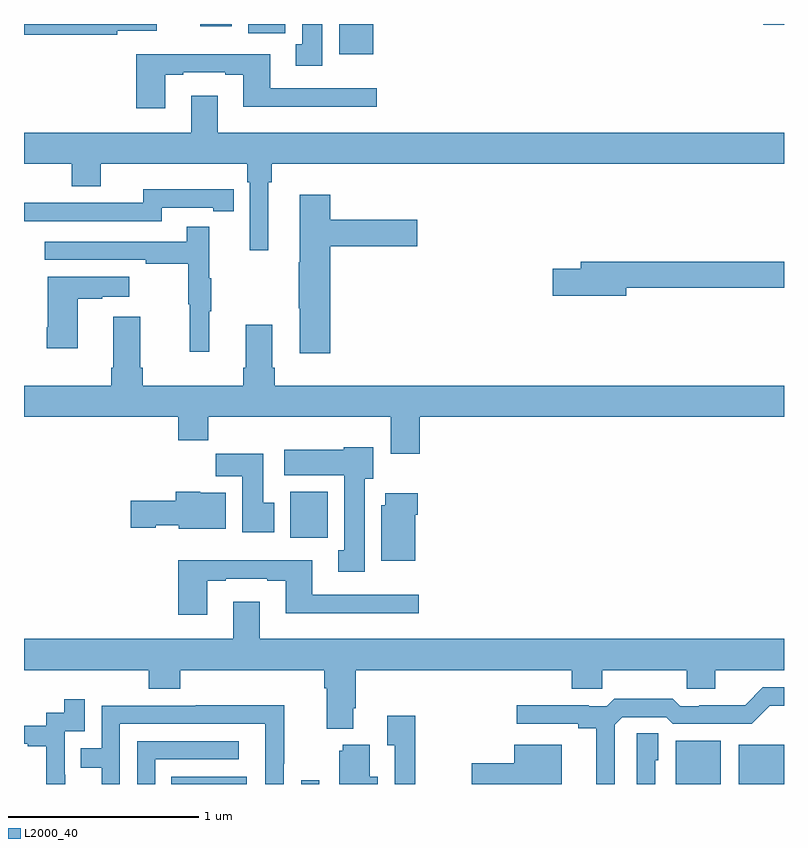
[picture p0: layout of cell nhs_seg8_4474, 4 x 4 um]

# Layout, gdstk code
import gdstk
lib = gdstk.Library(unit=1e-6, precision=1e-09)
def R(c, l, rs):  # rectangles x0, y0, x1, y1
    for r in rs: c.add(gdstk.rectangle(r[:2], r[2:], *l))
def P(c, l, *ps):  # polygons
    for p in ps: c.add(gdstk.Polygon(p, *l))
L2000_40 = (2000, 40)

nhs_seg8_4474 = lib.new_cell('nhs_seg8_4474')
R(nhs_seg8_4474, L2000_40, [(383.776,1115.9,384.172,1115.938), (384.459,1115.9,384.555,1115.92), (386.429,1115.9,386.668,1116.127), (386.762,1115.9,387,1116.106), (384.401,1117.196,384.598,1117.438), (384.659,1119.74,384.838,1119.9), (384.179,1119.852,384.375,1119.9), (383.927,1119.888,384.094,1119.9), (386.892,1119.896,387,1119.9)])
P(nhs_seg8_4474, L2000_40, [(383.492,1119.864),(383.698,1119.864),(383.698,1119.9),(383,1119.9),(383,1119.844),(383.492,1119.844)],
  [(384.571,1119.9),(384.464,1119.9),(384.464,1119.793),(384.431,1119.793),(384.431,1119.681),(384.571,1119.681)],
  [(383.743,1119.633),(383.839,1119.633),(383.839,1119.645),(384.059,1119.645),(384.059,1119.633),(384.155,1119.633),(384.155,1119.464),(384.856,1119.464),(384.856,1119.561),(384.295,1119.561),(384.295,1119.742),(383.591,1119.742),(383.591,1119.456),(383.743,1119.456)],
  [(384.286,1119.068),(384.305,1119.068),(384.305,1119.164),(387,1119.164),(387,1119.328),(384.019,1119.328),(384.019,1119.523),(383.879,1119.523),(383.879,1119.328),(383,1119.328),(383,1119.164),(383.252,1119.164),(383.252,1119.047),(383.404,1119.047),(383.404,1119.164),(384.176,1119.164),(384.176,1119.068),(384.189,1119.068),(384.189,1118.709),(384.286,1118.709)],
  [(383.724,1118.934),(383.996,1118.934),(383.996,1118.914),(384.104,1118.914),(384.104,1119.03),(383.996,1119.03),(383.996,1119.031),(383.628,1119.031),(383.628,1118.958),(383.168,1118.958),(383.168,1118.96),(383,1118.96),(383,1118.862),(383.724,1118.862)],
  [(384.611,1118.729),(385.069,1118.729),(385.069,1118.871),(384.611,1118.871),(384.611,1119.001),(384.452,1119.001),(384.452,1118.645),(384.445,1118.645),(384.445,1118.404),(384.452,1118.404),(384.452,1118.166),(384.611,1118.166)],
  [(383.975,1118.387),(383.986,1118.387),(383.986,1118.561),(383.975,1118.561),(383.975,1118.833),(383.857,1118.833),(383.857,1118.754),(383.109,1118.754),(383.109,1118.658),(383.641,1118.658),(383.641,1118.638),(383.865,1118.638),(383.865,1118.424),(383.872,1118.424),(383.872,1118.175),(383.975,1118.175)],
  [(386.17,1118.512),(387,1118.512),(387,1118.648),(385.931,1118.648),(385.931,1118.612),(385.782,1118.612),(385.782,1118.47),(386.17,1118.47)],
  [(383.284,1118.455),(383.411,1118.455),(383.411,1118.465),(383.554,1118.465),(383.554,1118.569),(383.126,1118.569),(383.126,1118.305),(383.119,1118.305),(383.119,1118.193),(383.284,1118.193)],
  [(385.082,1117.832),(387,1117.832),(387,1117.996),(384.32,1117.996),(384.32,1118.092),(384.307,1118.092),(384.307,1118.317),(384.167,1118.317),(384.167,1118.092),(384.155,1118.092),(384.155,1117.996),(383.624,1117.996),(383.624,1118.092),(383.611,1118.092),(383.611,1118.359),(383.471,1118.359),(383.471,1118.092),(383.459,1118.092),(383.459,1117.996),(383,1117.996),(383,1117.832),(383.813,1117.832),(383.813,1117.708),(383.969,1117.708),(383.969,1117.832),(384.929,1117.832),(384.929,1117.638),(385.082,1117.638)],
  [(384.793,1117.506),(384.838,1117.506),(384.838,1117.672),(384.684,1117.672),(384.684,1117.66),(384.369,1117.66),(384.369,1117.526),(384.686,1117.526),(384.686,1117.13),(384.653,1117.13),(384.653,1117.017),(384.793,1117.017)],
  [(384.316,1117.38),(384.259,1117.38),(384.259,1117.639),(384.01,1117.639),(384.01,1117.52),(384.149,1117.52),(384.149,1117.224),(384.316,1117.224)],
  [(384.061,1117.432),(383.928,1117.432),(383.928,1117.438),(383.798,1117.438),(383.798,1117.392),(383.562,1117.392),(383.562,1117.25),(383.694,1117.25),(383.694,1117.262),(383.814,1117.262),(383.814,1117.244),(384.061,1117.244)],
  [(385.06,1117.316),(385.073,1117.316),(385.073,1117.429),(384.902,1117.429),(384.902,1117.368),(384.881,1117.368),(384.881,1117.076),(385.06,1117.076)],
  [(383.965,1116.969),(384.061,1116.969),(384.061,1116.981),(384.281,1116.981),(384.281,1116.969),(384.377,1116.969),(384.377,1116.8),(385.078,1116.8),(385.078,1116.897),(384.517,1116.897),(384.517,1117.078),(383.813,1117.078),(383.813,1116.792),(383.965,1116.792)],
  [(384.733,1116.298),(384.746,1116.298),(384.746,1116.5),(385.883,1116.5),(385.883,1116.402),(386.043,1116.402),(386.043,1116.5),(386.488,1116.5),(386.488,1116.402),(386.638,1116.402),(386.638,1116.5),(387,1116.5),(387,1116.664),(384.241,1116.664),(384.241,1116.859),(384.101,1116.859),(384.101,1116.664),(383,1116.664),(383,1116.5),(383.657,1116.5),(383.657,1116.401),(383.822,1116.401),(383.822,1116.5),(384.581,1116.5),(384.581,1116.404),(384.593,1116.404),(384.593,1116.191),(384.733,1116.191)],
  [(386.109,1116.213),(386.148,1116.252),(386.379,1116.252),(386.415,1116.216),(386.829,1116.216),(386.924,1116.311),(387,1116.311),(387,1116.408),(386.889,1116.408),(386.795,1116.314),(386.554,1116.314),(386.554,1116.309),(386.454,1116.309),(386.415,1116.349),(386.107,1116.349),(386.067,1116.309),(385.973,1116.309),(385.973,1116.314),(385.593,1116.314),(385.593,1116.216),(385.916,1116.216),(385.916,1116.194),(386.012,1116.194),(386.012,1115.9),(386.109,1115.9)],
  [(383.216,1115.948),(383.214,1115.948),(383.214,1116.177),(383.319,1116.177),(383.319,1116.346),(383.211,1116.346),(383.211,1116.276),(383.118,1116.276),(383.118,1116.207),(383,1116.207),(383,1116.111),(383.021,1116.111),(383.021,1116.099),(383.117,1116.099),(383.117,1115.9),(383.216,1115.9)],
  [(383.505,1116.216),(384.269,1116.216),(384.269,1115.989),(384.27,1115.989),(384.27,1115.9),(384.366,1115.9),(384.366,1116.007),(384.369,1116.007),(384.369,1116.314),(383.905,1116.314),(383.905,1116.312),(383.409,1116.312),(383.409,1116.087),(383.299,1116.087),(383.299,1115.986),(383.409,1115.986),(383.409,1115.9),(383.505,1115.9)],
  [(385.06,1116.259),(384.911,1116.259),(384.911,1116.103),(384.951,1116.103),(384.951,1115.9),(385.06,1115.9)],
  [(386.322,1116.024),(386.338,1116.024),(386.338,1116.167),(386.226,1116.167),(386.226,1115.9),(386.322,1115.9)],
  [(383.691,1116.03),(384.13,1116.03),(384.13,1116.126),(383.595,1116.126),(383.595,1115.9),(383.691,1115.9)],
  [(384.862,1115.938),(384.82,1115.938),(384.82,1116.106),(384.677,1116.106),(384.677,1116.075),(384.659,1116.075),(384.659,1115.9),(384.862,1115.9)],
  [(385.831,1116.106),(385.58,1116.106),(385.58,1116.008),(385.356,1116.008),(385.356,1115.9),(385.831,1115.9)])

lib.write_gds('nhs_seg8_4474.gds')
